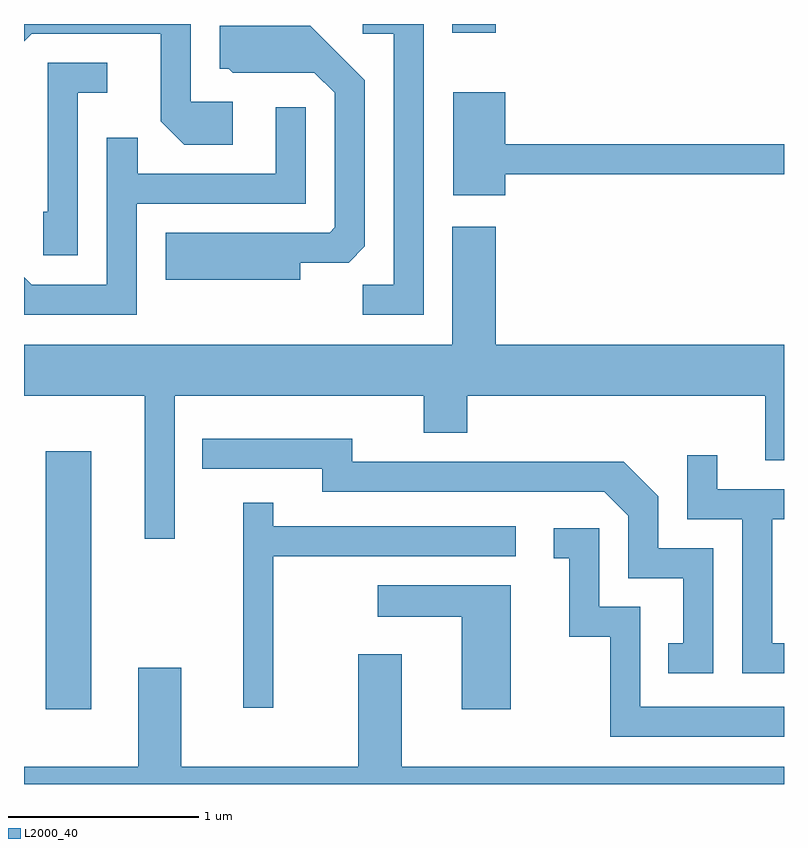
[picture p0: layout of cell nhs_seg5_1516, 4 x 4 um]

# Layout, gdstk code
import gdstk
lib = gdstk.Library(unit=1e-6, precision=1e-09)
def R(c, l, rs):  # rectangles x0, y0, x1, y1
    for r in rs: c.add(gdstk.rectangle(r[:2], r[2:], *l))
def P(c, l, *ps):  # polygons
    for p in ps: c.add(gdstk.Polygon(p, *l))
L2000_40 = (2000, 40)

nhs_seg5_1516 = lib.new_cell('nhs_seg5_1516')
R(nhs_seg5_1516, L2000_40, [(229.726,1468.466,229.964,1469.824), (231.866,1472.026,232.094,1472.072)])
P(nhs_seg5_1516, L2000_40, [(231.714,1472.072),(231.393,1472.072),(231.393,1472.021),(231.556,1472.021),(231.556,1470.699),(231.393,1470.699),(231.393,1470.541),(231.714,1470.541)],
  [(230.709,1471.664),(230.489,1471.664),(230.489,1472.072),(229.611,1472.072),(229.611,1471.98),(229.652,1472.021),(230.331,1472.021),(230.331,1471.559),(230.454,1471.436),(230.709,1471.436)],
  [(231.064,1470.816),(231.319,1470.816),(231.404,1470.902),(231.404,1471.777),(231.117,1472.064),(230.641,1472.064),(230.641,1471.836),(230.689,1471.836),(230.709,1471.816),(231.139,1471.816),(231.246,1471.709),(231.246,1471.002),(231.219,1470.974),(230.356,1470.974),(230.356,1470.726),(231.064,1470.726)],
  [(229.894,1471.711),(230.048,1471.711),(230.048,1471.869),(229.736,1471.869),(229.736,1471.084),(229.711,1471.084),(229.711,1470.856),(229.894,1470.856)],
  [(232.144,1471.281),(233.611,1471.281),(233.611,1471.439),(232.144,1471.439),(232.144,1471.714),(231.871,1471.714),(231.871,1471.171),(232.144,1471.171)],
  [(230.204,1471.126),(231.094,1471.126),(231.094,1471.633),(230.936,1471.633),(230.936,1471.284),(230.209,1471.284),(230.209,1471.473),(230.046,1471.473),(230.046,1470.699),(229.652,1470.699),(229.611,1470.74),(229.611,1470.541),(230.204,1470.541)],
  [(230.404,1470.116),(231.716,1470.116),(231.716,1469.921),(231.944,1469.921),(231.944,1470.116),(233.511,1470.116),(233.511,1469.776),(233.611,1469.776),(233.611,1470.384),(232.094,1470.384),(232.094,1471.004),(231.866,1471.004),(231.866,1470.384),(229.611,1470.384),(229.611,1470.116),(230.246,1470.116),(230.246,1469.363),(230.404,1469.363)],
  [(233.239,1469.314),(232.949,1469.314),(232.949,1469.587),(232.767,1469.769),(231.339,1469.769),(231.339,1469.889),(230.548,1469.889),(230.548,1469.731),(231.181,1469.731),(231.181,1469.611),(232.664,1469.611),(232.791,1469.484),(232.791,1469.156),(233.081,1469.156),(233.081,1468.814),(233.003,1468.814),(233.003,1468.656),(233.239,1468.656)],
  [(233.611,1468.814),(233.549,1468.814),(233.549,1469.466),(233.611,1469.466),(233.611,1469.624),(233.259,1469.624),(233.259,1469.803),(233.101,1469.803),(233.101,1469.466),(233.391,1469.466),(233.391,1468.656),(233.611,1468.656)],
  [(230.924,1469.271),(232.198,1469.271),(232.198,1469.429),(230.924,1469.429),(230.924,1469.553),(230.766,1469.553),(230.766,1468.473),(230.924,1468.473)],
  [(233.611,1468.479),(232.854,1468.479),(232.854,1469.004),(232.639,1469.004),(232.639,1469.419),(232.398,1469.419),(232.398,1469.261),(232.481,1469.261),(232.481,1468.846),(232.696,1468.846),(232.696,1468.321),(233.611,1468.321)],
  [(232.174,1469.119),(231.473,1469.119),(231.473,1468.951),(231.916,1468.951),(231.916,1468.466),(232.174,1468.466)],
  [(233.611,1468.164),(231.599,1468.164),(231.599,1468.754),(231.371,1468.754),(231.371,1468.164),(230.439,1468.164),(230.439,1468.684),(230.211,1468.684),(230.211,1468.164),(229.611,1468.164),(229.611,1468.072),(233.611,1468.072)])

lib.write_gds('nhs_seg5_1516.gds')
